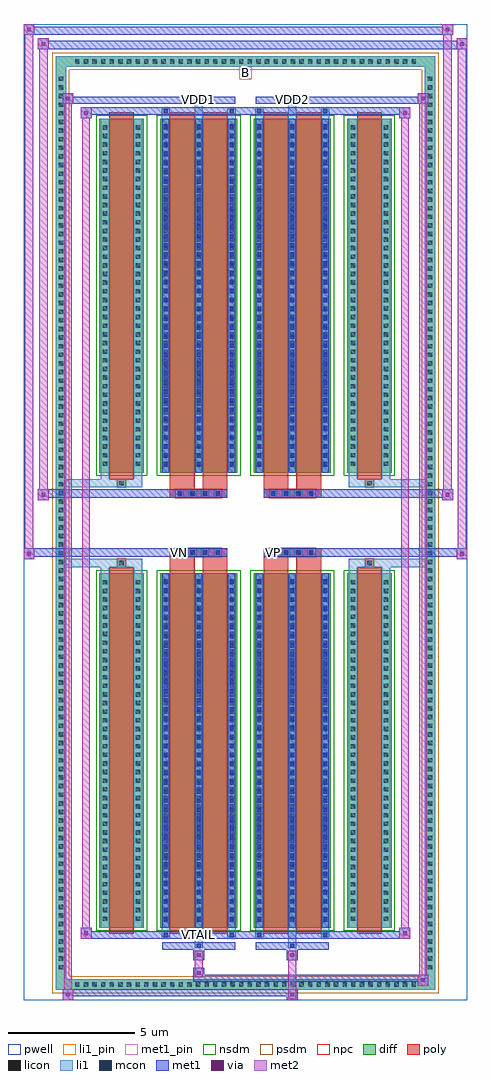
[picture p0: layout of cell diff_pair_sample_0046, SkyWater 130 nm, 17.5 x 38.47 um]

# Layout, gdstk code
import gdstk
lib = gdstk.Library(unit=1e-6, precision=5e-09)
def R(c, l, rs):  # rectangles x0, y0, x1, y1
    for r in rs: c.add(gdstk.rectangle(r[:2], r[2:], *l))
def A(c, l, x, y, w, h, nx, ny, dx, dy):  # array of equal rectangles
    R(c, l, [(x+i*dx, y+j*dy, x+i*dx+w, y+j*dy+h) for i in range(nx) for j in range(ny)])
def P(c, l, *ps):  # polygons
    for p in ps: c.add(gdstk.Polygon(p, *l))
pwell = (64, 44)
diff = (65, 20)
poly = (66, 20)
licon = (66, 44)
li1_pin = (67, 16)
li1 = (67, 20)
mcon = (67, 44)
met1_pin = (68, 16)
met1 = (68, 20)
via = (68, 44)
met2 = (69, 20)
nsdm = (93, 44)
psdm = (94, 20)
npc = (95, 20)

diff_pair_sample_0046 = lib.new_cell('diff_pair_sample_0046')
R(diff_pair_sample_0046, pwell, [(-8.75,-18.8,8.75,19.67), (-6.07,-16.99,-0.01,-0.795), (0.01,-16.99,6.07,-0.795), (-6.07,0.795,-0.01,16.99), (0.01,0.795,6.07,16.99)])
A(diff_pair_sample_0046, diff, -6.835, -18.4, 0.41, 0.41, 40, 2, 0.34, 36.39)
A(diff_pair_sample_0046, diff, -7.48, -17.715, 0.41, 0.41, 1, 104, 0, 0.34)
A(diff_pair_sample_0046, diff, 7.07, -17.715, 0.41, 0.41, 1, 104, 0, 0.34)
R(diff_pair_sample_0046, diff, [(-6.835,-18.4,6.835,-17.99), (-7.48,-17.715,-7.07,17.715), (7.07,-17.715,7.48,17.715), (-5.76,-15.945,-4.01,-1.985), (-3.37,-15.945,-0.32,-1.985), (0.32,-15.945,3.37,-1.985), (4.01,-15.945,5.76,-1.985), (-5.76,1.985,-4.01,15.945), (-3.37,1.985,-0.32,15.945), (0.32,1.985,3.37,15.945), (4.01,1.985,5.76,15.945), (-6.835,17.99,6.835,18.4)])
P(diff_pair_sample_0046, diff, [(7.48,18.4),(-7.48,18.4),(-7.48,-17.99),(-7.07,-17.99),(-7.07,17.99),(7.07,17.99),(7.07,-17.99),(-7.07,-17.99),(-7.48,-17.99),(-7.48,-18.4),(7.48,-18.4)])
A(diff_pair_sample_0046, poly, -2.76, -1.325, 0.33, 0.33, 4, 2, 0.5, 2.32)
A(diff_pair_sample_0046, poly, 0.93, -1.325, 0.33, 0.33, 4, 2, 0.5, 2.32)
R(diff_pair_sample_0046, poly, [(-5.37,-16.195,-4.4,-1.735), (-2.98,-16.195,-2.01,-1.735), (-1.68,-16.195,-0.71,-1.735), (0.71,-16.195,1.68,-1.735), (2.01,-16.195,2.98,-1.735), (4.4,-16.195,5.37,-1.735), (-5.05,-1.735,-4.72,-1.405), (-5.05,-1.735,-4.72,-1.405), (-2.98,-1.735,-2.01,-1.325), (-1.68,-1.735,-0.71,-1.325), (0.71,-1.735,1.68,-1.325), (2.01,-1.735,2.98,-1.325), (4.72,-1.735,5.05,-1.405), (4.72,-1.735,5.05,-1.405), (-2.98,-1.325,-0.71,-0.995), (0.71,-1.325,2.98,-0.995), (-2.98,0.995,-0.71,1.325), (0.71,0.995,2.98,1.325), (-2.98,1.325,-2.01,1.735), (-1.68,1.325,-0.71,1.735), (0.71,1.325,1.68,1.735), (2.01,1.325,2.98,1.735), (-5.05,1.405,-4.72,1.735), (-5.05,1.405,-4.72,1.735), (4.72,1.405,5.05,1.735), (4.72,1.405,5.05,1.735), (-5.37,1.735,-4.4,16.195), (-2.98,1.735,-2.01,16.195), (-1.68,1.735,-0.71,16.195), (0.71,1.735,1.68,16.195), (2.01,1.735,2.98,16.195), (4.4,1.735,5.37,16.195)])
A(diff_pair_sample_0046, licon, -6.715, -18.28, 0.17, 0.17, 40, 2, 0.34, 36.39)
A(diff_pair_sample_0046, licon, -7.36, -17.595, 0.17, 0.17, 1, 104, 0, 0.34)
A(diff_pair_sample_0046, licon, 7.19, -17.595, 0.17, 0.17, 1, 104, 0, 0.34)
A(diff_pair_sample_0046, licon, -5.62, -15.68, 0.17, 0.17, 1, 40, 0, 0.34)
A(diff_pair_sample_0046, licon, -4.32, -15.68, 0.17, 0.17, 1, 40, 0, 0.34)
A(diff_pair_sample_0046, licon, -3.23, -15.68, 0.17, 0.17, 3, 40, 1.3, 0.34)
A(diff_pair_sample_0046, licon, 0.46, -15.68, 0.17, 0.17, 3, 40, 1.3, 0.34)
A(diff_pair_sample_0046, licon, 4.15, -15.68, 0.17, 0.17, 1, 40, 0, 0.34)
A(diff_pair_sample_0046, licon, 5.45, -15.68, 0.17, 0.17, 1, 40, 0, 0.34)
A(diff_pair_sample_0046, licon, -2.68, -1.245, 0.17, 0.17, 4, 2, 0.5, 2.32)
A(diff_pair_sample_0046, licon, 1.01, -1.245, 0.17, 0.17, 4, 2, 0.5, 2.32)
A(diff_pair_sample_0046, licon, -5.62, 2.25, 0.17, 0.17, 1, 40, 0, 0.34)
A(diff_pair_sample_0046, licon, -4.32, 2.25, 0.17, 0.17, 1, 40, 0, 0.34)
A(diff_pair_sample_0046, licon, -3.23, 2.25, 0.17, 0.17, 3, 40, 1.3, 0.34)
A(diff_pair_sample_0046, licon, 0.46, 2.25, 0.17, 0.17, 3, 40, 1.3, 0.34)
A(diff_pair_sample_0046, licon, 4.15, 2.25, 0.17, 0.17, 1, 40, 0, 0.34)
A(diff_pair_sample_0046, licon, 5.45, 2.25, 0.17, 0.17, 1, 40, 0, 0.34)
R(diff_pair_sample_0046, licon, [(-4.97,-1.655,-4.8,-1.485), (4.8,-1.655,4.97,-1.485), (-4.97,1.485,-4.8,1.655), (4.8,1.485,4.97,1.655)])
R(diff_pair_sample_0046, li1_pin, [(-0.25,17.49,0.25,17.99)])
A(diff_pair_sample_0046, li1, -6.795, -18.36, 0.33, 0.33, 40, 2, 0.34, 36.39)
A(diff_pair_sample_0046, li1, -7.44, -17.675, 0.33, 0.33, 1, 104, 0, 0.34)
A(diff_pair_sample_0046, li1, 7.11, -17.675, 0.33, 0.33, 1, 104, 0, 0.34)
A(diff_pair_sample_0046, li1, -3.31, -15.945, 0.33, 13.96, 3, 2, 1.3, 17.93)
A(diff_pair_sample_0046, li1, 0.38, -15.945, 0.33, 13.96, 3, 2, 1.3, 17.93)
A(diff_pair_sample_0046, li1, -5.7, -15.76, 0.33, 0.33, 1, 40, 0, 0.34)
A(diff_pair_sample_0046, li1, -4.4, -15.76, 0.33, 0.33, 1, 40, 0, 0.34)
A(diff_pair_sample_0046, li1, -3.31, -15.76, 0.33, 0.33, 3, 40, 1.3, 0.34)
A(diff_pair_sample_0046, li1, 0.38, -15.76, 0.33, 0.33, 3, 40, 1.3, 0.34)
A(diff_pair_sample_0046, li1, 4.07, -15.76, 0.33, 0.33, 1, 40, 0, 0.34)
A(diff_pair_sample_0046, li1, 5.37, -15.76, 0.33, 0.33, 1, 40, 0, 0.34)
A(diff_pair_sample_0046, li1, -3.23, -15.71, 0.17, 0.17, 3, 38, 1.3, 0.36)
A(diff_pair_sample_0046, li1, -3.23, -15.71, 0.17, 13.49, 3, 2, 1.3, 17.93)
A(diff_pair_sample_0046, li1, 0.46, -15.71, 0.17, 0.17, 3, 38, 1.3, 0.36)
A(diff_pair_sample_0046, li1, 0.46, -15.71, 0.17, 13.49, 3, 2, 1.3, 17.93)
A(diff_pair_sample_0046, li1, -2.76, -1.325, 0.33, 0.33, 4, 2, 0.5, 2.32)
A(diff_pair_sample_0046, li1, 0.93, -1.325, 0.33, 0.33, 4, 2, 0.5, 2.32)
A(diff_pair_sample_0046, li1, -5.7, 2.17, 0.33, 0.33, 1, 40, 0, 0.34)
A(diff_pair_sample_0046, li1, -4.4, 2.17, 0.33, 0.33, 1, 40, 0, 0.34)
A(diff_pair_sample_0046, li1, -3.31, 2.17, 0.33, 0.33, 3, 40, 1.3, 0.34)
A(diff_pair_sample_0046, li1, 0.38, 2.17, 0.33, 0.33, 3, 40, 1.3, 0.34)
A(diff_pair_sample_0046, li1, 4.07, 2.17, 0.33, 0.33, 1, 40, 0, 0.34)
A(diff_pair_sample_0046, li1, 5.37, 2.17, 0.33, 0.33, 1, 40, 0, 0.34)
A(diff_pair_sample_0046, li1, -3.23, 2.22, 0.17, 0.17, 3, 38, 1.3, 0.36)
A(diff_pair_sample_0046, li1, 0.46, 2.22, 0.17, 0.17, 3, 38, 1.3, 0.36)
R(diff_pair_sample_0046, li1, [(-7.48,-18.4,-7.07,-17.99), (-7.48,-18.4,-7.07,-17.99), (-7.07,-18.4,7.07,-17.99), (7.07,-18.4,7.48,-17.99), (7.07,-18.4,7.48,-17.99), (-7.48,-17.99,-7.07,17.99), (7.07,-17.99,7.48,17.99), (-2.01,-16.75,-1.68,-15.945), (-1.93,-16.75,-1.76,-16.58), (1.68,-16.75,2.01,-15.945), (1.76,-16.75,1.93,-16.58), (-3.31,-16.32,-2.98,-15.945), (-3.23,-16.32,-3.06,-16.15), (-0.71,-16.32,-0.38,-15.945), (-0.63,-16.32,-0.46,-16.15), (0.38,-16.32,0.71,-15.945), (0.46,-16.32,0.63,-16.15), (2.98,-16.32,3.31,-15.945), (3.06,-16.32,3.23,-16.15), (-5.7,-15.945,-5.37,-1.985), (-4.4,-15.945,-4.07,-1.985), (4.07,-15.945,4.4,-1.985), (5.37,-15.945,5.7,-1.985), (-5.7,-1.985,-5.37,-1.405), (-4.4,-1.985,-4.07,-1.405), (4.07,-1.985,4.4,-1.405), (5.37,-1.985,5.7,-1.405), (-7.48,-1.735,-5.05,-1.405), (-5.7,-1.735,-5.05,-1.405), (-5.05,-1.735,-4.72,-1.405), (-4.72,-1.735,-4.07,-1.405), (4.07,-1.735,4.72,-1.405), (4.72,-1.735,5.05,-1.405), (4.72,-1.735,7.48,-1.405), (5.05,-1.735,5.7,-1.405), (-7.48,1.405,-5.05,1.735), (-5.7,1.405,-5.05,1.735), (-5.7,1.405,-5.37,1.985), (-5.05,1.405,-4.72,1.735), (-4.72,1.405,-4.07,1.735), (-4.4,1.405,-4.07,1.985), (4.07,1.405,4.72,1.735), (4.07,1.405,4.4,1.985), (4.72,1.405,5.05,1.735), (4.72,1.405,7.48,1.735), (5.05,1.405,5.7,1.735), (5.37,1.405,5.7,1.985), (-5.7,1.985,-5.37,15.945), (-4.4,1.985,-4.07,15.945), (4.07,1.985,4.4,15.945), (5.37,1.985,5.7,15.945), (-3.31,15.945,-2.98,16.32), (-2.01,15.945,-1.68,16.75), (-0.71,15.945,-0.38,16.32), (0.38,15.945,0.71,16.32), (1.68,15.945,2.01,16.75), (2.98,15.945,3.31,16.32), (-3.23,16.15,-3.06,16.32), (-0.63,16.15,-0.46,16.32), (0.46,16.15,0.63,16.32), (3.06,16.15,3.23,16.32), (-1.93,16.58,-1.76,16.75), (1.76,16.58,1.93,16.75), (-7.48,17.99,-7.07,18.4), (-7.48,17.99,-7.07,18.4), (-7.07,17.99,7.07,18.4), (7.07,17.99,7.48,18.4), (7.07,17.99,7.48,18.4)])
A(diff_pair_sample_0046, mcon, -3.23, -15.71, 0.17, 0.17, 3, 38, 1.3, 0.36)
A(diff_pair_sample_0046, mcon, 0.46, -15.71, 0.17, 0.17, 3, 38, 1.3, 0.36)
A(diff_pair_sample_0046, mcon, -2.68, -1.245, 0.17, 0.17, 4, 2, 0.5, 2.32)
A(diff_pair_sample_0046, mcon, 1.01, -1.245, 0.17, 0.17, 4, 2, 0.5, 2.32)
A(diff_pair_sample_0046, mcon, -3.23, 2.22, 0.17, 0.17, 3, 38, 1.3, 0.36)
A(diff_pair_sample_0046, mcon, 0.46, 2.22, 0.17, 0.17, 3, 38, 1.3, 0.36)
R(diff_pair_sample_0046, mcon, [(-1.93,-16.75,-1.76,-16.58), (1.76,-16.75,1.93,-16.58), (-3.23,-16.32,-3.06,-16.15), (-0.63,-16.32,-0.46,-16.15), (0.46,-16.32,0.63,-16.15), (3.06,-16.32,3.23,-16.15), (-3.23,16.15,-3.06,16.32), (-0.63,16.15,-0.46,16.32), (0.46,16.15,0.63,16.32), (3.06,16.15,3.23,16.32), (-1.93,16.58,-1.76,16.75), (1.76,16.58,1.93,16.75)])
R(diff_pair_sample_0046, met1_pin, [(-1.98,-16.36,-1.71,-16.09), (-2.73,-1.285,-2.46,-1.015), (0.96,-1.285,1.23,-1.015), (-1.98,16.54,-1.71,16.81), (1.71,16.54,1.98,16.81)])
A(diff_pair_sample_0046, met1, -3.29, -15.945, 0.29, 13.96, 3, 2, 1.3, 17.93)
A(diff_pair_sample_0046, met1, 0.4, -15.945, 0.29, 13.96, 3, 2, 1.3, 17.93)
A(diff_pair_sample_0046, met1, -3.29, -15.77, 0.29, 0.29, 3, 38, 1.3, 0.36)
A(diff_pair_sample_0046, met1, 0.4, -15.77, 0.29, 0.29, 3, 38, 1.3, 0.36)
A(diff_pair_sample_0046, met1, -2.74, -1.305, 0.29, 0.29, 4, 2, 0.5, 2.32)
A(diff_pair_sample_0046, met1, 0.95, -1.305, 0.29, 0.29, 4, 2, 0.5, 2.32)
A(diff_pair_sample_0046, met1, -3.29, 2.16, 0.29, 0.29, 3, 38, 1.3, 0.36)
A(diff_pair_sample_0046, met1, 0.4, 2.16, 0.29, 0.29, 3, 38, 1.3, 0.36)
R(diff_pair_sample_0046, met1, [(-7.21,-18.8,-6.78,-18.37), (1.63,-18.8,2.06,-18.37), (-7.21,-18.66,2.06,-18.37), (6.78,-18.23,7.21,-17.8), (-2.06,-18.09,7.21,-17.8), (-2.06,-17.95,-1.63,-17.52), (-2.06,-17.24,-1.63,-16.81), (1.63,-17.24,2.06,-16.81), (-3.29,-16.81,-0.4,-16.52), (-1.99,-16.81,-1.7,-16.52), (0.4,-16.81,3.29,-16.52), (1.7,-16.81,1.99,-16.52), (-6.5,-16.38,-6.07,-15.95), (-6.5,-16.38,-3.29,-16.09), (-3.29,-16.38,-3,-16.09), (-3.29,-16.38,-0.4,-16.09), (-0.69,-16.38,-0.4,-16.09), (-0.4,-16.38,0.4,-16.09), (0.4,-16.38,0.69,-16.09), (0.4,-16.38,3.29,-16.09), (3,-16.38,3.29,-16.09), (3.29,-16.38,6.5,-16.09), (6.07,-16.38,6.5,-15.95), (-8.75,-1.425,-8.32,-0.995), (8.32,-1.425,8.75,-0.995), (-8.75,-1.325,-0.71,-0.995), (-2.98,-1.325,-0.71,-0.995), (0.71,-1.325,2.98,-0.995), (0.71,-1.325,8.75,-0.995), (-8.18,0.895,-7.75,1.325), (7.75,0.895,8.18,1.325), (-8.18,0.995,-2.98,1.325), (-2.98,0.995,-0.71,1.325), (0.71,0.995,2.98,1.325), (2.98,0.995,8.18,1.325), (-6.5,15.95,-6.07,16.38), (6.07,15.95,6.5,16.38), (-6.5,16.09,-3.29,16.38), (-3.29,16.09,-3,16.38), (-3.29,16.09,-0.4,16.38), (-0.69,16.09,-0.4,16.38), (-0.4,16.09,0.4,16.38), (0.4,16.09,0.69,16.38), (0.4,16.09,3.29,16.38), (3,16.09,3.29,16.38), (3.29,16.09,6.5,16.38), (-7.21,16.52,-6.78,16.95), (-7.21,16.52,-3.29,16.81), (-3.29,16.52,-0.4,16.81), (-1.99,16.52,-1.7,16.81), (0.4,16.52,3.29,16.81), (1.7,16.52,1.99,16.81), (3.29,16.52,7.21,16.81), (6.78,16.52,7.21,16.95), (-8.18,18.67,-7.75,19.1), (-8.18,18.67,-6.07,19), (-6.07,18.67,6.07,19), (6.07,18.67,8.75,19), (8.32,18.67,8.75,19.1), (-8.75,19.24,-8.32,19.67), (-8.75,19.24,-6.07,19.57), (-6.07,19.24,6.07,19.57), (6.07,19.24,8.18,19.57), (7.75,19.24,8.18,19.67)])
R(diff_pair_sample_0046, via, [(-7.07,-18.66,-6.92,-18.51), (1.77,-18.66,1.92,-18.51), (6.92,-18.09,7.07,-17.94), (-1.92,-17.81,-1.77,-17.66), (-1.92,-17.1,-1.77,-16.95), (1.77,-17.1,1.92,-16.95), (-6.36,-16.24,-6.21,-16.09), (6.21,-16.24,6.36,-16.09), (-8.61,-1.285,-8.46,-1.135), (8.46,-1.285,8.61,-1.135), (-8.04,1.035,-7.89,1.185), (7.89,1.035,8.04,1.185), (-6.36,16.09,-6.21,16.24), (6.21,16.09,6.36,16.24), (-7.07,16.66,-6.92,16.81), (6.92,16.66,7.07,16.81), (-8.04,18.81,-7.89,18.96), (8.46,18.81,8.61,18.96), (-8.61,19.38,-8.46,19.53), (7.89,19.38,8.04,19.53)])
R(diff_pair_sample_0046, met2, [(-7.21,-18.8,-6.78,-18.37), (-7.14,-18.8,-6.85,16.95), (-6.85,-18.8,-6.78,-18.37), (-7.16,-18.75,-6.83,-18.42), (1.68,-18.75,2.01,-18.42), (1.68,-18.42,2.01,-17.19), (6.78,-18.23,7.21,-17.8), (6.85,-18.23,7.14,16.95), (7.14,-18.23,7.21,-17.8), (6.83,-18.18,7.16,-17.85), (-2.01,-17.9,-1.68,-17.57), (-2.01,-17.57,-1.68,-17.19), (-2.01,-17.19,-1.68,-16.86), (1.68,-17.19,2.01,-16.86), (-6.5,-16.38,-6.07,-15.95), (-6.43,-16.38,-6.14,16.38), (-6.14,-16.38,-6.07,-15.95), (6.07,-16.38,6.5,-15.95), (6.14,-16.38,6.43,16.38), (6.43,-16.38,6.5,-15.95), (-6.45,-16.33,-6.12,-16), (6.12,-16.33,6.45,-16), (-8.75,-1.425,-8.32,-0.995), (-8.7,-1.425,-8.37,19.67), (-8.37,-1.425,-8.32,-0.995), (8.32,-1.425,8.75,-0.995), (8.37,-1.425,8.7,19.1), (8.7,-1.425,8.75,-0.995), (-8.7,-1.375,-8.37,-1.045), (8.37,-1.375,8.7,-1.045), (-8.18,0.895,-7.75,1.325), (-8.13,0.895,-7.8,19.1), (-7.8,0.895,-7.75,1.325), (7.75,0.895,8.18,1.325), (7.8,0.895,8.13,19.67), (8.13,0.895,8.18,1.325), (-8.13,0.945,-7.8,1.275), (7.8,0.945,8.13,1.275), (-6.5,15.95,-6.07,16.38), (-6.14,15.95,-6.07,16.38), (6.07,15.95,6.5,16.38), (6.43,15.95,6.5,16.38), (-6.45,16,-6.12,16.33), (6.12,16,6.45,16.33), (-7.21,16.52,-6.78,16.95), (-6.85,16.52,-6.78,16.95), (6.78,16.52,7.21,16.95), (7.14,16.52,7.21,16.95), (-7.16,16.57,-6.83,16.9), (6.83,16.57,7.16,16.9), (-8.18,18.67,-7.75,19.1), (-7.8,18.67,-7.75,19.1), (8.32,18.67,8.75,19.1), (8.7,18.67,8.75,19.1), (-8.13,18.72,-7.8,19.05), (8.37,18.72,8.7,19.05), (-8.75,19.24,-8.32,19.67), (-8.37,19.24,-8.32,19.67), (7.75,19.24,8.18,19.67), (8.13,19.24,8.18,19.67), (-8.7,19.29,-8.37,19.62), (7.8,19.29,8.13,19.62)])
R(diff_pair_sample_0046, nsdm, [(-5.89,-16.075,-3.88,-1.855), (-3.5,-16.075,-0.19,-1.855), (0.19,-16.075,3.5,-1.855), (3.88,-16.075,5.89,-1.855), (-5.89,1.855,-3.88,16.075), (-3.5,1.855,-0.19,16.075), (0.19,1.855,3.5,16.075), (3.88,1.855,5.89,16.075)])
P(diff_pair_sample_0046, psdm, [(7.61,18.53),(-7.61,18.53),(-7.61,-17.86),(-6.94,-17.86),(-6.94,17.86),(6.94,17.86),(6.94,-17.86),(-6.94,-17.86),(-7.61,-17.86),(-7.61,-18.53),(7.61,-18.53)])
A(diff_pair_sample_0046, npc, -2.78, -1.345, 0.37, 0.37, 4, 2, 0.5, 2.32)
A(diff_pair_sample_0046, npc, 0.91, -1.345, 0.37, 0.37, 4, 2, 0.5, 2.32)
R(diff_pair_sample_0046, npc, [(-5.07,-1.755,-4.7,-1.385), (4.7,-1.755,5.07,-1.385), (-2.78,-1.345,-1.91,-0.975), (-2.78,-1.345,-1.91,-0.975), (-2.28,-1.345,-1.41,-0.975), (-2.28,-1.345,-1.41,-0.975), (-1.78,-1.345,-0.91,-0.975), (-1.78,-1.345,-0.91,-0.975), (0.91,-1.345,1.78,-0.975), (0.91,-1.345,1.78,-0.975), (1.41,-1.345,2.28,-0.975), (1.41,-1.345,2.28,-0.975), (1.91,-1.345,2.78,-0.975), (1.91,-1.345,2.78,-0.975), (-2.78,0.975,-1.91,1.345), (-2.78,0.975,-1.91,1.345), (-2.28,0.975,-1.41,1.345), (-2.28,0.975,-1.41,1.345), (-1.78,0.975,-0.91,1.345), (-1.78,0.975,-0.91,1.345), (0.91,0.975,1.78,1.345), (0.91,0.975,1.78,1.345), (1.41,0.975,2.28,1.345), (1.41,0.975,2.28,1.345), (1.91,0.975,2.78,1.345), (1.91,0.975,2.78,1.345), (-5.07,1.385,-4.7,1.755), (4.7,1.385,5.07,1.755)])
diff_pair_sample_0046.add(gdstk.Label('VTAIL', (-1.845,-16.225), layer=68, texttype=5))
diff_pair_sample_0046.add(gdstk.Label('VN', (-2.595,-1.15), layer=68, texttype=5))
diff_pair_sample_0046.add(gdstk.Label('VP', (1.095,-1.15), layer=68, texttype=5))
diff_pair_sample_0046.add(gdstk.Label('B', (0,17.74), layer=67, texttype=5))
diff_pair_sample_0046.add(gdstk.Label('VDD2', (1.845,16.675), layer=68, texttype=5))
diff_pair_sample_0046.add(gdstk.Label('VDD1', (-1.845,16.675), layer=68, texttype=5))

lib.write_gds('diff_pair_sample_0046.gds')
